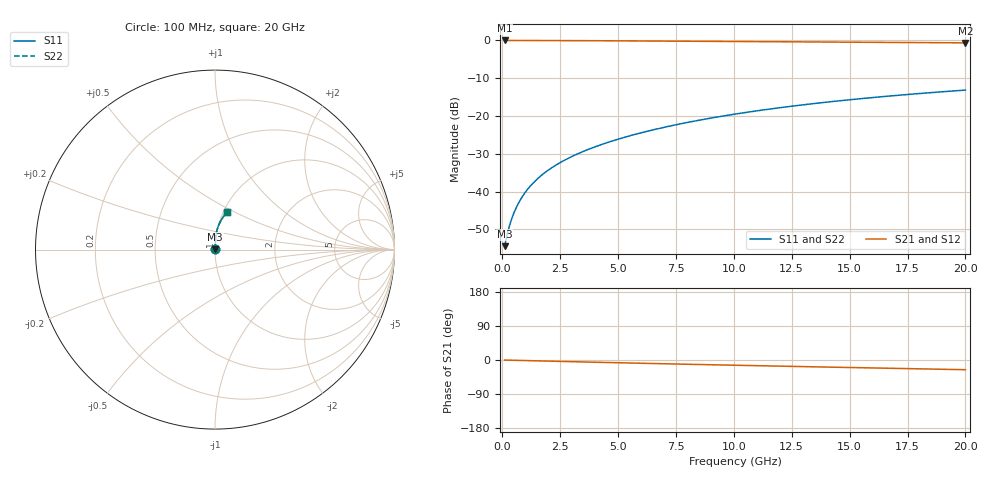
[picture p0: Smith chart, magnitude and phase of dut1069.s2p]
! Touchstone file exported from HFSS 2024.1.0
!  File:  C:/UserFiles/LocalFiles/RDL_TSV_Batchsim/temp_RDL_bottom_1069_1780052744.aedt
!  Generated:  07:08:00 PM May 29, 2026
!  Design:  RDL_bottom
!  Project:  temp_RDL_bottom_1069_1780052744
!  Setup:  Setup1
!  Solution:  Sweep
! Variables:
!  dtsv = 10.80580581um
!  hbump = 3um
!  htsv = 87.32um
!  ldown = 390um
!  lrdl = 100um
!  p = 40
!  p1 = 40.65um
!  rhole = 1um
!  t = 450um
!  tdown = 4.67um
!  trdl = 3.915915916um
!  wdown = 21.61um
!  wrdl = 20um
# GHz S MA R 50.000000
! Terminal data exported
! Port[1] = RDL1_T1
! Port[2] = RDL1_T2
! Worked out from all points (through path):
!   200 points, 100 MHz to 20 GHz, reference 50 ohm
!   highest |S21| = -0.01 dB at 100 MHz (marker M1); lowest = -0.6 dB at 20 GHz (marker M2)
!   group delay of S21, straight-line fit = 3.52 ps
!   lowest |S11| = -54.4 dB at 100 MHz (marker M3), VSWR 1.00, Z = 50.2 + j0.11 ohm
!   |S11| at or under -10 dB: start of sweep to end of sweep
!   |S22| runs from -54.4 to -13.1 dB; largest |S21 - S12| = 5.3e-15
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0.1  0.001895 35.4  0.9984 -0.2  0.9984 -0.2  0.001895 35.4
! Gamma 0 0 0 0
! Port Impedance 50 0 50 0
0.2  0.002632 51.5  0.9983 -0.3  0.9983 -0.3  0.002631 51.5
0.3  0.003439 60.7  0.9982 -0.5  0.9982 -0.5  0.003438 60.7
0.4  0.004296 66.6  0.9981 -0.6  0.9981 -0.6  0.004296 66.6
0.5  0.005187 70.6  0.998 -0.8  0.998 -0.8  0.005186 70.6
0.6  0.006098 73.5  0.9979 -0.9  0.9979 -0.9  0.006097 73.5
0.8  0.007954 77.3  0.9977 -1.2  0.9977 -1.2  0.007954 77.3
1.1  0.01078 80.5  0.9974 -1.7  0.9974 -1.7  0.01078 80.5
1.5  0.01459 82.8  0.9968 -2.3  0.9968 -2.3  0.01459 82.8
1.8  0.01746 83.9  0.9963 -2.7  0.9963 -2.7  0.01746 83.9
2.1  0.02033 84.7  0.9958 -3.1  0.9958 -3.1  0.02034 84.7
2.7  0.02614 85.7  0.9944 -4.0  0.9944 -4.0  0.02614 85.7
3.5  0.034 86.6  0.9922 -5.2  0.9922 -5.2  0.034 86.6
4.2  0.04104 87.0  0.99 -6.2  0.99 -6.2  0.04104 87.0
5  0.0493 87.3  0.9872 -7.3  0.9872 -7.3  0.0493 87.3
6.8  0.06872 86.9  0.9803 -9.7  0.9803 -9.7  0.06872 86.9
8.4  0.08679 85.9  0.9739 -11.8  0.9739 -11.8  0.08679 85.9
10.1  0.1065 84.4  0.967 -13.9  0.967 -13.9  0.1065 84.4
11.7  0.1253 82.6  0.9606 -15.9  0.9606 -15.9  0.1253 82.6
13.4  0.1453 80.6  0.9539 -17.9  0.9539 -17.9  0.1453 80.6
16.7  0.1835 76.4  0.941 -21.8  0.941 -21.8  0.1835 76.4
20  0.2202 72.1  0.9281 -25.6  0.9281 -25.6  0.2201 72.1
